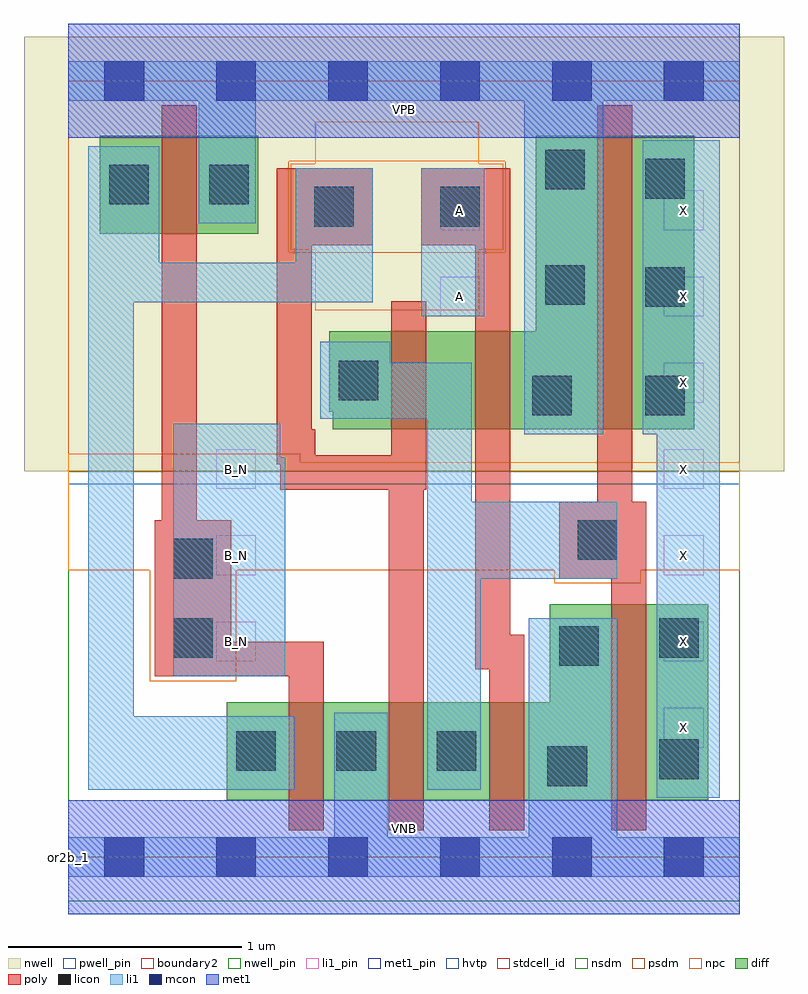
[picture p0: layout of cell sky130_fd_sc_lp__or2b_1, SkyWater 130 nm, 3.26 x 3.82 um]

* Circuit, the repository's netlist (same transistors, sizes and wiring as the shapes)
* Copyright 2020 The SkyWater PDK Authors
*
* Licensed under the Apache License, Version 2.0 (the "License");
* you may not use this file except in compliance with the License.
* You may obtain a copy of the License at
*
*     https://www.apache.org/licenses/LICENSE-2.0
*
* Unless required by applicable law or agreed to in writing, software
* distributed under the License is distributed on an "AS IS" BASIS,
* WITHOUT WARRANTIES OR CONDITIONS OF ANY KIND, either express or implied.
* See the License for the specific language governing permissions and
* limitations under the License.
*
* SPDX-License-Identifier: Apache-2.0

.SUBCKT sky130_fd_sc_lp__or2b_1 A B_N VGND VNB VPB VPWR X
*.PININFO A:I B_N:I VGND:I VNB:I VPB:I VPWR:I X:O
MMP0 VPWR A sndPA VPB sky130_fd_pr__pfet_01v8_hvt m=1 w=0.42U l=0.15U mult=1 sa=0.265
+ sb=0.265 sd=0.28 area=0.063 perim=1.14
MMP1 sndPA B y VPB sky130_fd_pr__pfet_01v8_hvt m=1 w=0.42U l=0.15U mult=1 sa=0.265
+ sb=0.265 sd=0.28 area=0.063 perim=1.14
MMIP1 B B_N VPWR VPB sky130_fd_pr__pfet_01v8_hvt m=1 w=0.42U l=0.15U mult=1 sa=0.265
+ sb=0.265 sd=0.28 area=0.063 perim=1.14
MMIP2 X y VPWR VPB sky130_fd_pr__pfet_01v8_hvt m=1 w=1.26U l=0.15U mult=1 sa=0.265
+ sb=0.265 sd=0.28 area=0.063 perim=1.14
MMN0 y A VGND VNB sky130_fd_pr__nfet_01v8 m=1 w=0.42U l=0.15U mult=1 sa=0.265 sb=0.265
+ sd=0.28 area=0.063 perim=1.14
MMN1 y B VGND VNB sky130_fd_pr__nfet_01v8 m=1 w=0.42U l=0.15U mult=1 sa=0.265 sb=0.265
+ sd=0.28 area=0.063 perim=1.14
MMIN1 B B_N VGND VNB sky130_fd_pr__nfet_01v8 m=1 w=0.42U l=0.15U mult=1 sa=0.265
+ sb=0.265 sd=0.28 area=0.063 perim=1.14
MMIN2 X y VGND VNB sky130_fd_pr__nfet_01v8 m=1 w=0.84U l=0.15U mult=1 sa=0.265
+ sb=0.265 sd=0.28 area=0.063 perim=1.14
.ENDS sky130_fd_sc_lp__or2b_1

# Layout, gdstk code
import gdstk
lib = gdstk.Library(unit=1e-6, precision=1e-09)
def R(c, l, rs):  # rectangles x0, y0, x1, y1
    for r in rs: c.add(gdstk.rectangle(r[:2], r[2:], *l))
def A(c, l, x, y, w, h, nx, ny, dx, dy):  # array of equal rectangles
    R(c, l, [(x+i*dx, y+j*dy, x+i*dx+w, y+j*dy+h) for i in range(nx) for j in range(ny)])
def P(c, l, *ps):  # polygons
    for p in ps: c.add(gdstk.Polygon(p, *l))
nwell_pin = (64, 16)
nwell = (64, 20)
diff = (65, 20)
poly = (66, 20)
licon = (66, 44)
li1_pin = (67, 16)
li1 = (67, 20)
mcon = (67, 44)
met1_pin = (68, 16)
met1 = (68, 20)
hvtp = (78, 44)
stdcell_id = (81, 4)
nsdm = (93, 44)
psdm = (94, 20)
npc = (95, 20)
pwell_pin = (122, 16)
boundary2 = (236, 0)

sky130_fd_sc_lp__or2b_1 = lib.new_cell('sky130_fd_sc_lp__or2b_1')
R(sky130_fd_sc_lp__or2b_1, nwell_pin, [(0,3.085,2.88,3.33)])
R(sky130_fd_sc_lp__or2b_1, nwell, [(-0.19,1.655,3.07,3.52)])
R(sky130_fd_sc_lp__or2b_1, diff, [(0.135,2.675,0.815,3.095)])
P(sky130_fd_sc_lp__or2b_1, diff, [(2.685,3.095),(2.005,3.095),(2.005,2.255),(1.12,2.255),(1.12,1.91),(1.135,1.91),(1.135,1.835),(2.685,1.835)],
  [(2.745,1.085),(2.065,1.085),(2.065,0.665),(0.68,0.665),(0.68,0.245),(2.745,0.245)])
P(sky130_fd_sc_lp__or2b_1, poly, [(1.095,0.925),(0.7,0.925),(0.7,1.445),(0.55,1.445),(0.55,3.225),(0.4,3.225),(0.4,1.445),(0.37,1.445),(0.37,0.775),(0.945,0.775),(0.945,0.115),(1.095,0.115)],
  [(1.535,2.385),(1.385,2.385),(1.385,1.725),(1.06,1.725),(1.06,1.835),(1.045,1.835),(1.045,2.625),(1.305,2.625),(1.305,2.955),(0.895,2.955),(0.895,1.685),(0.91,1.685),(0.91,1.575),(1.375,1.575),(1.375,0.115),(1.525,0.115),(1.525,1.575),(1.535,1.575)],
  [(1.955,0.955),(1.895,0.955),(1.895,2.955),(1.515,2.955),(1.515,2.625),(1.745,2.625),(1.745,0.805),(1.805,0.805),(1.805,0.115),(1.955,0.115)],
  [(2.48,1.525),(2.42,1.525),(2.42,3.225),(2.27,3.225),(2.27,1.525),(2.105,1.525),(2.105,1.195),(2.33,1.195),(2.33,0.115),(2.48,0.115)])
A(sky130_fd_sc_lp__or2b_1, licon, 0.72, 0.37, 0.17, 0.17, 3, 1, 0.43, 0)
A(sky130_fd_sc_lp__or2b_1, licon, 2.475, 1.895, 0.17, 0.17, 1, 3, 0, 0.465)
R(sky130_fd_sc_lp__or2b_1, licon, [(2.055,0.305,2.225,0.475), (2.535,0.335,2.705,0.505), (2.105,0.82,2.275,0.99), (0.45,0.855,0.62,1.025), (2.535,0.855,2.705,1.025), (0.45,1.195,0.62,1.365), (2.185,1.275,2.355,1.445), (1.99,1.895,2.16,2.065), (1.16,1.96,1.33,2.13), (2.045,2.37,2.215,2.54), (1.055,2.705,1.225,2.875), (1.595,2.705,1.765,2.875), (0.175,2.8,0.345,2.97), (0.605,2.8,0.775,2.97), (2.045,2.865,2.215,3.035)])
A(sky130_fd_sc_lp__or2b_1, li1_pin, 2.555, 0.47, 0.17, 0.17, 1, 7, 0, 0.37)
A(sky130_fd_sc_lp__or2b_1, li1_pin, 0.635, 0.84, 0.17, 0.17, 1, 3, 0, 0.37)
R(sky130_fd_sc_lp__or2b_1, li1_pin, [(1.595,2.32,1.765,2.49), (1.595,2.69,1.765,2.86)])
R(sky130_fd_sc_lp__or2b_1, li1, [(1.515,2.32,1.785,2.955)])
P(sky130_fd_sc_lp__or2b_1, li1, [(1.305,2.955),(0.975,2.955),(0.975,2.55),(0.39,2.55),(0.39,3.05),(0.085,3.05),(0.085,0.29),(0.97,0.29),(0.97,0.605),(0.28,0.605),(0.28,2.38),(1.305,2.38)],
  [(2.795,3.075),(2.465,3.075),(2.465,1.815),(2.525,1.815),(2.525,0.255),(2.795,0.255)],
  [(2.88,0.085),(2.355,0.085),(2.355,1.025),(1.975,1.025),(1.975,0.085),(1.37,0.085),(1.37,0.62),(1.14,0.62),(1.14,0.085),(0,0.085),(0,-0.085),(2.88,-0.085)],
  [(2.88,3.415),(0,3.415),(0,3.245),(0.56,3.245),(0.56,2.72),(0.805,2.72),(0.805,3.245),(1.955,3.245),(1.955,1.815),(2.295,1.815),(2.295,3.245),(2.88,3.245)],
  [(2.355,1.525),(1.73,1.525),(1.73,2.12),(1.38,2.12),(1.38,2.21),(1.08,2.21),(1.08,1.88),(1.54,1.88),(1.54,0.29),(1.77,0.29),(1.77,1.195),(2.355,1.195)],
  [(0.93,1.715),(0.91,1.715),(0.91,1.86),(0.45,1.86),(0.45,0.775),(0.93,0.775)])
A(sky130_fd_sc_lp__or2b_1, mcon, 0.155, -0.085, 0.17, 0.17, 6, 2, 0.48, 3.33)
R(sky130_fd_sc_lp__or2b_1, met1_pin, [(0,0,2.88,0.245), (0,3.085,2.88,3.33)])
R(sky130_fd_sc_lp__or2b_1, met1, [(0,-0.245,2.88,0.245), (0,3.085,2.88,3.575)])
R(sky130_fd_sc_lp__or2b_1, hvtp, [(0,1.6,2.88,3.33)])
R(sky130_fd_sc_lp__or2b_1, stdcell_id, [(0,0,2.88,3.33)])
R(sky130_fd_sc_lp__or2b_1, nsdm, [(0,-0.19,2.88,1.655)])
P(sky130_fd_sc_lp__or2b_1, psdm, [(2.88,3.52),(1.875,3.52),(1.875,2.595),(0.945,2.595),(0.945,2.985),(1.875,2.985),(1.875,3.52),(0,3.52),(0,1.655),(2.88,1.655)])
P(sky130_fd_sc_lp__or2b_1, npc, [(2.88,1.695),(0.995,1.695),(0.995,1.73),(0,1.73),(0,1.23),(0.35,1.23),(0.35,0.755),(0.72,0.755),(0.72,1.23),(2.085,1.23),(2.085,1.175),(2.455,1.175),(2.455,1.23),(2.88,1.23)],
  [(1.865,2.975),(1.76,2.975),(1.76,3.155),(1.06,3.155),(1.06,2.975),(0.955,2.975),(0.955,2.605),(1.06,2.605),(1.06,2.345),(1.76,2.345),(1.76,2.605),(1.865,2.605)])
R(sky130_fd_sc_lp__or2b_1, pwell_pin, [(0,0,2.88,0.245)])
R(sky130_fd_sc_lp__or2b_1, boundary2, [(0,0,2.88,3.33)])
sky130_fd_sc_lp__or2b_1.add(gdstk.Label('VNB', (1.44,0.123), layer=64, texttype=59))
sky130_fd_sc_lp__or2b_1.add(gdstk.Label('VPB', (1.44,3.208), layer=64, texttype=5))
sky130_fd_sc_lp__or2b_1.add(gdstk.Label('or2b_1', (0,0), layer=83, texttype=44))
sky130_fd_sc_lp__or2b_1.add(gdstk.Label('VPWR', (1.44,3.208), layer=68, texttype=5))
sky130_fd_sc_lp__or2b_1.add(gdstk.Label('VGND', (1.44,0.123), layer=68, texttype=5))
sky130_fd_sc_lp__or2b_1.add(gdstk.Label('B_N', (0.72,0.925), layer=67, texttype=5))
sky130_fd_sc_lp__or2b_1.add(gdstk.Label('B_N', (0.72,1.295), layer=67, texttype=5))
sky130_fd_sc_lp__or2b_1.add(gdstk.Label('B_N', (0.72,1.665), layer=67, texttype=5))
sky130_fd_sc_lp__or2b_1.add(gdstk.Label('X', (2.64,0.555), layer=67, texttype=5))
sky130_fd_sc_lp__or2b_1.add(gdstk.Label('X', (2.64,0.925), layer=67, texttype=5))
sky130_fd_sc_lp__or2b_1.add(gdstk.Label('X', (2.64,1.295), layer=67, texttype=5))
sky130_fd_sc_lp__or2b_1.add(gdstk.Label('X', (2.64,1.665), layer=67, texttype=5))
sky130_fd_sc_lp__or2b_1.add(gdstk.Label('X', (2.64,2.035), layer=67, texttype=5))
sky130_fd_sc_lp__or2b_1.add(gdstk.Label('X', (2.64,2.405), layer=67, texttype=5))
sky130_fd_sc_lp__or2b_1.add(gdstk.Label('X', (2.64,2.775), layer=67, texttype=5))
sky130_fd_sc_lp__or2b_1.add(gdstk.Label('A', (1.68,2.405), layer=67, texttype=5))
sky130_fd_sc_lp__or2b_1.add(gdstk.Label('A', (1.68,2.775), layer=67, texttype=5))

lib.write_gds('sky130_fd_sc_lp__or2b_1.gds')
